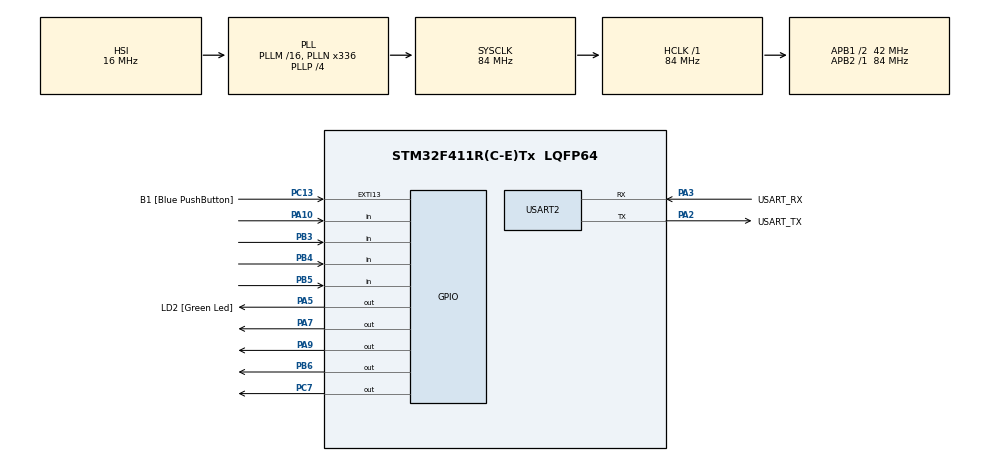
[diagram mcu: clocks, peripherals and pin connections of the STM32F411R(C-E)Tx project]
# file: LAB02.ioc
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Mcu.Family=STM32F4
Mcu.Name=STM32F411R(C-E)Tx
Mcu.Package=LQFP64
NVIC.PriorityGroup=NVIC_PRIORITYGROUP_0
PA10.GPIO_PuPd=GPIO_PULLUP
PA10.Signal=GPIO_Input
PA13.GPIO_Label=TMS
PA13.Mode=Serial_Wire
PA13.Signal=SYS_JTMS-SWDIO
PA14.GPIO_Label=TCK
PA14.Mode=Serial_Wire
PA14.Signal=SYS_JTCK-SWCLK
PA2.GPIO_Label=USART_TX
PA2.Mode=Asynchronous
PA2.Signal=USART2_TX
PA3.GPIO_Label=USART_RX
PA3.Mode=Asynchronous
PA3.Signal=USART2_RX
PA5.GPIO_Label=LD2 [Green Led]
PA5.GPIO_ModeDefaultOutputPP=GPIO_MODE_OUTPUT_PP
PA5.Signal=GPIO_Output
PA7.GPIO_ModeDefaultOutputPP=GPIO_MODE_OUTPUT_OD
PA7.PinState=GPIO_PIN_SET
PA7.Signal=GPIO_Output
PA9.GPIO_ModeDefaultOutputPP=GPIO_MODE_OUTPUT_OD
PA9.PinState=GPIO_PIN_SET
PA9.Signal=GPIO_Output
PB3.GPIO_PuPd=GPIO_PULLUP
PB3.Signal=GPIO_Input
PB4.GPIO_PuPd=GPIO_PULLUP
PB4.Signal=GPIO_Input
PB5.GPIO_PuPd=GPIO_PULLUP
PB5.Signal=GPIO_Input
PB6.GPIO_ModeDefaultOutputPP=GPIO_MODE_OUTPUT_OD
PB6.PinState=GPIO_PIN_SET
PB6.Signal=GPIO_Output
PC13-ANTI_TAMP.GPIO_Label=B1 [Blue PushButton]
PC13-ANTI_TAMP.GPIO_ModeDefaultEXTI=GPIO_MODE_IT_FALLING
PC13-ANTI_TAMP.Signal=GPXTI13
PC14-OSC32_IN.Mode=LSE-External-Oscillator
PC14-OSC32_IN.Signal=RCC_OSC32_IN
PC15-OSC32_OUT.Mode=LSE-External-Oscillator
PC15-OSC32_OUT.Signal=RCC_OSC32_OUT
PC7.GPIO_ModeDefaultOutputPP=GPIO_MODE_OUTPUT_OD
PC7.PinState=GPIO_PIN_SET
PC7.Signal=GPIO_Output
PH0\ -\ OSC_IN.Mode=HSE-External-Clock-Source
PH0\ -\ OSC_IN.Signal=RCC_OSC_IN
PH1\ -\ OSC_OUT.Mode=HSE-External-Clock-Source
PH1\ -\ OSC_OUT.Signal=RCC_OSC_OUT
ProjectManager.HeapSize=0x200
ProjectManager.StackSize=0x400
ProjectManager.TargetToolchain=STM32CubeIDE
RCC.48MHZClocksFreq_Value=84000000
RCC.AHBFreq_Value=84000000
RCC.APB1CLKDivider=RCC_HCLK_DIV2
RCC.APB1Freq_Value=42000000
RCC.APB1TimFreq_Value=84000000
RCC.APB2Freq_Value=84000000
RCC.APB2TimFreq_Value=84000000
RCC.CortexFreq_Value=84000000
RCC.FLatency-AdvancedSettings=FLASH_LATENCY_2
RCC.HCLKFreq_Value=84000000
RCC.HSE_VALUE=8000000
RCC.HSI_VALUE=16000000
RCC.PLLN=336
RCC.PLLP=RCC_PLLP_DIV4
RCC.SYSCLKFreq_VALUE=84000000
RCC.SYSCLKSource=RCC_SYSCLKSOURCE_PLLCLK
RCC.VCOOutputFreq_Value=336000000
USART2.VirtualMode=VM_ASYNC
board=NUCLEO-F411RE

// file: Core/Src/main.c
/* USER CODE BEGIN Header */
/**
 ******************************************************************************
 * @file           : main.c
 * @brief          : Main program body
 ******************************************************************************
 * @attention
 *
 * <h2><center>&copy; Copyright (c) 2021 STMicroelectronics.
 * All rights reserved.</center></h2>
 *
 * This software component is licensed by ST under BSD 3-Clause license,
 * the "License"; You may not use this file except in compliance with the
 * License. You may obtain a copy of the License at:
 *                        opensource.org/licenses/BSD-3-Clause
 *
 ******************************************************************************
 */
/* USER CODE END Header */
#include "main.h"

UART_HandleTypeDef huart2;

/* USER CODE BEGIN PV */
uint16_t ButtonState = 0;
uint32_t Time = 0;

//uint16_t Student_ID=0;
//int CheckStudent_ID = 0;
//int State = 0;
/* USER CODE END PV */

void SystemClock_Config(void);
static void MX_GPIO_Init(void);
static void MX_USART2_UART_Init(void);
/* USER CODE BEGIN PFP */
void ButtonNow();
/* USER CODE END PFP */

int main(void)
{

	/* MCU Configuration--------------------------------------------------------*/

	/* Reset of all peripherals, Initializes the Flash interface and the Systick. */
	HAL_Init();

	/* Configure the system clock */
	SystemClock_Config();

	/* Initialize all configured peripherals */
	MX_GPIO_Init();
	MX_USART2_UART_Init();

	/* Infinite loop */
	while (1)
	{

		/* USER CODE BEGIN 3 */
		ButtonNow();
	}
	/* USER CODE END 3 */
}

void SystemClock_Config(void)
{
	RCC_OscInitTypeDef RCC_OscInitStruct =
	{ 0 };
	RCC_ClkInitTypeDef RCC_ClkInitStruct =
	{ 0 };

	/** Configure the main internal regulator output voltage
	 */
	__HAL_RCC_PWR_CLK_ENABLE();
	__HAL_PWR_VOLTAGESCALING_CONFIG(PWR_REGULATOR_VOLTAGE_SCALE1);
	/** Initializes the RCC Oscillators according to the specified parameters
	 * in the RCC_OscInitTypeDef structure.
	 */
	RCC_OscInitStruct.OscillatorType = RCC_OSCILLATORTYPE_HSI;
	RCC_OscInitStruct.HSIState = RCC_HSI_ON;
	RCC_OscInitStruct.HSICalibrationValue = RCC_HSICALIBRATION_DEFAULT;
	RCC_OscInitStruct.PLL.PLLState = RCC_PLL_ON;
	RCC_OscInitStruct.PLL.PLLSource = RCC_PLLSOURCE_HSI;
	RCC_OscInitStruct.PLL.PLLM = 16;
	RCC_OscInitStruct.PLL.PLLN = 336;
	RCC_OscInitStruct.PLL.PLLP = RCC_PLLP_DIV4;
	RCC_OscInitStruct.PLL.PLLQ = 4;
	if (HAL_RCC_OscConfig(&RCC_OscInitStruct) != HAL_OK)
	{
		Error_Handler();
	}
	/** Initializes the CPU, AHB and APB buses clocks
	 */
	RCC_ClkInitStruct.ClockType = RCC_CLOCKTYPE_HCLK | RCC_CLOCKTYPE_SYSCLK
			| RCC_CLOCKTYPE_PCLK1 | RCC_CLOCKTYPE_PCLK2;
	RCC_ClkInitStruct.SYSCLKSource = RCC_SYSCLKSOURCE_PLLCLK;
	RCC_ClkInitStruct.AHBCLKDivider = RCC_SYSCLK_DIV1;
	RCC_ClkInitStruct.APB1CLKDivider = RCC_HCLK_DIV2;
	RCC_ClkInitStruct.APB2CLKDivider = RCC_HCLK_DIV1;

	if (HAL_RCC_ClockConfig(&RCC_ClkInitStruct, FLASH_LATENCY_2) != HAL_OK)
	{
		Error_Handler();
	}
}

static void MX_USART2_UART_Init(void)
{

	huart2.Instance = USART2;
	huart2.Init.BaudRate = 115200;
	huart2.Init.WordLength = UART_WORDLENGTH_8B;
	huart2.Init.StopBits = UART_STOPBITS_1;
	huart2.Init.Parity = UART_PARITY_NONE;
	huart2.Init.Mode = UART_MODE_TX_RX;
	huart2.Init.HwFlowCtl = UART_HWCONTROL_NONE;
	huart2.Init.OverSampling = UART_OVERSAMPLING_16;
	if (HAL_UART_Init(&huart2) != HAL_OK)
	{
		Error_Handler();
	}

}

static void MX_GPIO_Init(void)
{
	GPIO_InitTypeDef GPIO_InitStruct =
	{ 0 };

	/* GPIO Ports Clock Enable */
	__HAL_RCC_GPIOC_CLK_ENABLE();
	__HAL_RCC_GPIOH_CLK_ENABLE();
	__HAL_RCC_GPIOA_CLK_ENABLE();
	__HAL_RCC_GPIOB_CLK_ENABLE();

	/*Configure GPIO pin Output Level */
	HAL_GPIO_WritePin(LD2_GPIO_Port, LD2_Pin, GPIO_PIN_RESET);

	/*Configure GPIO pin Output Level */
	HAL_GPIO_WritePin(GPIOA, GPIO_PIN_7 | GPIO_PIN_9, GPIO_PIN_SET);

	/*Configure GPIO pin Output Level */
	HAL_GPIO_WritePin(GPIOC, GPIO_PIN_7, GPIO_PIN_SET);

	/*Configure GPIO pin Output Level */
	HAL_GPIO_WritePin(GPIOB, GPIO_PIN_6, GPIO_PIN_SET);

	/*Configure GPIO pin : B1_Pin */
	GPIO_InitStruct.Pin = B1_Pin;
	GPIO_InitStruct.Mode = GPIO_MODE_IT_FALLING;
	GPIO_InitStruct.Pull = GPIO_NOPULL;
	HAL_GPIO_Init(B1_GPIO_Port, &GPIO_InitStruct);

	/*Configure GPIO pin : LD2_Pin */
	GPIO_InitStruct.Pin = LD2_Pin;
	GPIO_InitStruct.Mode = GPIO_MODE_OUTPUT_PP;
	GPIO_InitStruct.Pull = GPIO_NOPULL;
	GPIO_InitStruct.Speed = GPIO_SPEED_FREQ_LOW;
	HAL_GPIO_Init(LD2_GPIO_Port, &GPIO_InitStruct);

	/*Configure GPIO pins : PA7 PA9 */
	GPIO_InitStruct.Pin = GPIO_PIN_7 | GPIO_PIN_9;
	GPIO_InitStruct.Mode = GPIO_MODE_OUTPUT_OD;
	GPIO_InitStruct.Pull = GPIO_NOPULL;
	GPIO_InitStruct.Speed = GPIO_SPEED_FREQ_LOW;
	HAL_GPIO_Init(GPIOA, &GPIO_InitStruct);

	/*Configure GPIO pin : PC7 */
	GPIO_InitStruct.Pin = GPIO_PIN_7;
	GPIO_InitStruct.Mode = GPIO_MODE_OUTPUT_OD;
	GPIO_InitStruct.Pull = GPIO_NOPULL;
	GPIO_InitStruct.Speed = GPIO_SPEED_FREQ_LOW;
	HAL_GPIO_Init(GPIOC, &GPIO_InitStruct);

	/*Configure GPIO pin : PA10 */
	GPIO_InitStruct.Pin = GPIO_PIN_10;
	GPIO_InitStruct.Mode = GPIO_MODE_INPUT;
	GPIO_InitStruct.Pull = GPIO_PULLUP;
	HAL_GPIO_Init(GPIOA, &GPIO_InitStruct);

	/*Configure GPIO pins : PB3 PB4 PB5 */
	GPIO_InitStruct.Pin = GPIO_PIN_3 | GPIO_PIN_4 | GPIO_PIN_5;
	GPIO_InitStruct.Mode = GPIO_MODE_INPUT;
	GPIO_InitStruct.Pull = GPIO_PULLUP;
	HAL_GPIO_Init(GPIOB, &GPIO_InitStruct);

	/*Configure GPIO pin : PB6 */
	GPIO_InitStruct.Pin = GPIO_PIN_6;
	GPIO_InitStruct.Mode = GPIO_MODE_OUTPUT_OD;
	GPIO_InitStruct.Pull = GPIO_NOPULL;
	GPIO_InitStruct.Speed = GPIO_SPEED_FREQ_LOW;
	HAL_GPIO_Init(GPIOB, &GPIO_InitStruct);

}

/* USER CODE BEGIN 4 */
GPIO_TypeDef *ButtonPort[8] =
{ GPIOA, GPIOB, GPIOB, GPIOB, GPIOA, GPIOC, GPIOB, GPIOA };

uint16_t ButtonPin[8] =
{ GPIO_PIN_10, GPIO_PIN_3, GPIO_PIN_5, GPIO_PIN_4, GPIO_PIN_9, GPIO_PIN_7,
GPIO_PIN_6, GPIO_PIN_7 };

uint8_t ButtonRow = 0;

int Student_ID[11];

int position=0;
void ButtonNow()
{
	if (HAL_GetTick() - Time >= 100)
	{
		Time = HAL_GetTick();
		int i;
		for (i = 0; i < 4; i++)
		{
			GPIO_PinState PIN = HAL_GPIO_ReadPin(ButtonPort[i],ButtonPin[i]);
			if (PIN == 0)
			{
				ButtonState |= (uint16_t) 1 << (i + ButtonRow * 4);
				switch (ButtonState)
				{
					case 0b100000000://1
						Student_ID[position] = 1;
						position+=1;
						break;
					case 0b1000000000://2
						Student_ID[position] = 2;
						position+=1;
						break;
					case 0b10000000000://3
						Student_ID[position] = 3;
						position+=1;
						break;
					case 0b10000://4
						Student_ID[position] = 4;
						position+=1;
						break;
					case 0b100000://5
						Student_ID[position] = 5;
						position+=1;
						break;
					case 0b1000000://6
						Student_ID[position] = 6;
						position+=1;
						break;
					case 0b1://7
						Student_ID[position] = 7;
						position+=1;
						break;
					case 0b10://8
						Student_ID[position] = 8;
						position+=1;
						break;
					case 0b100://9
						Student_ID[position] = 9;
						position+=1;
						break;
					case 0b1000000000000://0
						Student_ID[position] = 0;
						position+=1;
						break;
					case 0b1000000000000000://ok
						if(position==11 && Student_ID[0]==6 && Student_ID[1]==2  && Student_ID[2]==3
								 && Student_ID[3]==4  && Student_ID[4]==0  && Student_ID[5]==5
								 && Student_ID[6]==0  && Student_ID[7]==0  && Student_ID[8]==0
								 && Student_ID[9]==3  && Student_ID[10]==3)
						{
							HAL_GPIO_WritePin(GPIOA, GPIO_PIN_5, 1);
						}
						else
						{
							HAL_GPIO_WritePin(GPIOA, GPIO_PIN_5, 0);
						}
						break;
					case 0b1000://clear
						Student_ID[0] = 0;Student_ID[1] = 0;Student_ID[2] = 0;Student_ID[3] = 0;
						Student_ID[4] = 0;Student_ID[5] = 0;Student_ID[6] = 0;Student_ID[7] = 0;
						Student_ID[8] = 0;Student_ID[9] = 0;Student_ID[10] = 0;
						position = 0;
						HAL_GPIO_WritePin(GPIOA, GPIO_PIN_5, 0);
						break;
					case 0b10000000://BS
						position -= 1;
						Student_ID[position] = 0;
						break;
				}

			}
			else
			{
				ButtonState &= ~((uint16_t) 1 << (i + ButtonRow * 4));
			}

		}
		uint8_t NowOutputPin = ButtonRow + 4;
		HAL_GPIO_WritePin(ButtonPort[NowOutputPin],ButtonPin[NowOutputPin], 1);
		ButtonRow = (ButtonRow + 1) % 4;
		uint8_t NextOutputPin = ButtonRow + 4;
		HAL_GPIO_WritePin(ButtonPort[NextOutputPin],ButtonPin[NextOutputPin], 0);

	}
}
/* USER CODE END 4 */

void Error_Handler(void)
{
	__disable_irq();
	while (1)
	{
	}
}

/************************ (C) COPYRIGHT STMicroelectronics *****END OF FILE****/
